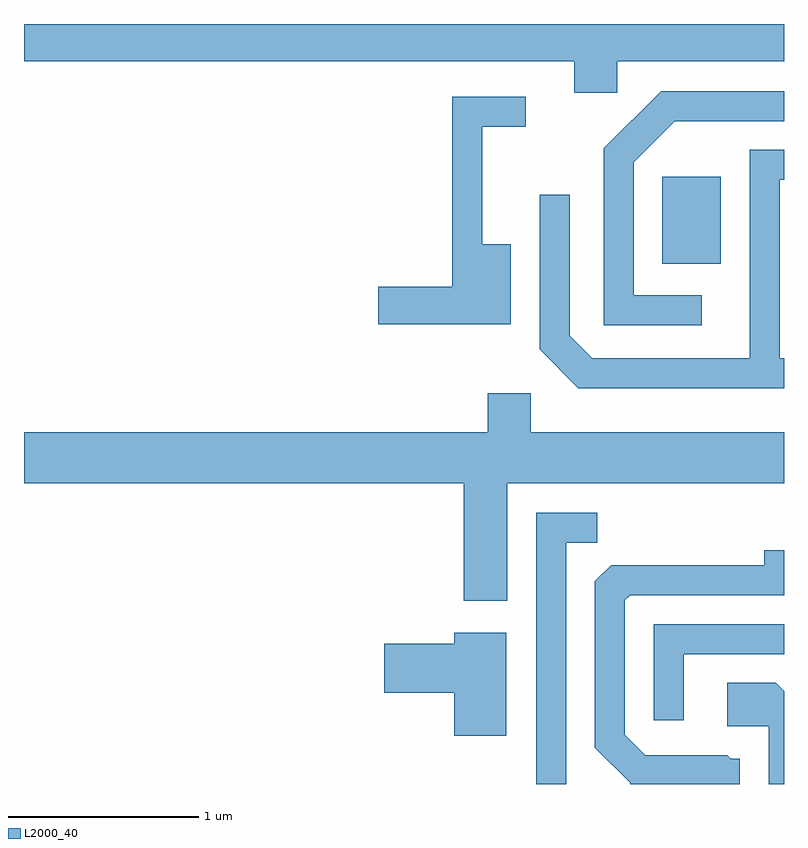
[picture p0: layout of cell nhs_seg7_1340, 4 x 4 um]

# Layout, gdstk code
import gdstk
lib = gdstk.Library(unit=1e-6, precision=1e-09)
def R(c, l, rs):  # rectangles x0, y0, x1, y1
    for r in rs: c.add(gdstk.rectangle(r[:2], r[2:], *l))
def P(c, l, *ps):  # polygons
    for p in ps: c.add(gdstk.Polygon(p, *l))
L2000_40 = (2000, 40)

nhs_seg7_1340 = lib.new_cell('nhs_seg7_1340')
R(nhs_seg7_1340, L2000_40, [(228.971,1750.991,229.279,1751.449)])
P(nhs_seg7_1340, L2000_40, [(228.734,1752.056),(229.611,1752.056),(229.611,1752.252),(225.611,1752.252),(225.611,1752.056),(228.506,1752.056),(228.506,1751.891),(228.734,1751.891)],
  [(229.178,1750.824),(228.819,1750.824),(228.819,1751.524),(229.037,1751.741),(229.611,1751.741),(229.611,1751.899),(228.964,1751.899),(228.661,1751.597),(228.661,1750.666),(229.178,1750.666)],
  [(228.174,1751.094),(228.024,1751.094),(228.024,1751.711),(228.253,1751.711),(228.253,1751.869),(227.866,1751.869),(227.866,1750.869),(227.476,1750.869),(227.476,1750.671),(228.174,1750.671)],
  [(229.611,1750.494),(229.589,1750.494),(229.589,1751.431),(229.611,1751.431),(229.611,1751.589),(229.431,1751.589),(229.431,1750.494),(228.602,1750.494),(228.484,1750.612),(228.484,1751.353),(228.326,1751.353),(228.326,1750.539),(228.529,1750.336),(229.611,1750.336)],
  [(228.154,1749.836),(229.611,1749.836),(229.611,1750.104),(228.279,1750.104),(228.279,1750.309),(228.051,1750.309),(228.051,1750.104),(225.611,1750.104),(225.611,1749.836),(227.926,1749.836),(227.926,1749.216),(228.154,1749.216)],
  [(228.464,1749.521),(228.628,1749.521),(228.628,1749.679),(228.306,1749.679),(228.306,1748.252),(228.464,1748.252)],
  [(229.379,1748.384),(229.332,1748.384),(229.312,1748.404),(228.882,1748.404),(228.774,1748.512),(228.774,1749.219),(228.802,1749.246),(229.611,1749.246),(229.611,1749.483),(229.506,1749.483),(229.506,1749.404),(228.702,1749.404),(228.616,1749.319),(228.616,1748.444),(228.801,1748.259),(228.801,1748.252),(229.379,1748.252)],
  [(229.084,1748.936),(229.611,1748.936),(229.611,1749.094),(228.926,1749.094),(228.926,1748.588),(229.084,1748.588)],
  [(228.149,1749.049),(227.876,1749.049),(227.876,1748.989),(227.506,1748.989),(227.506,1748.731),(227.876,1748.731),(227.876,1748.506),(228.149,1748.506)],
  [(229.611,1748.74),(229.567,1748.784),(229.311,1748.784),(229.311,1748.556),(229.531,1748.556),(229.531,1748.252),(229.611,1748.252)])

lib.write_gds('nhs_seg7_1340.gds')
